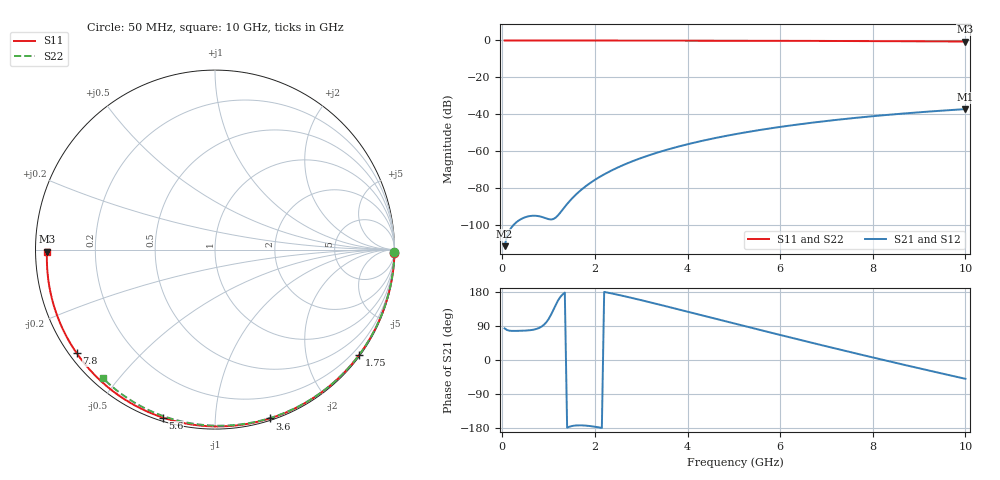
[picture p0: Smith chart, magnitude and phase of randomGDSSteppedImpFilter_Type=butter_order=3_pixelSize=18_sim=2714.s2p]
! freq	dB(S11)	phase(S11)	dB(S12)	phase(S12)
!  dB(S21)	phase(S21)	dB(S22)	phase(S22)
!S-par simulation data
#  GHz  S  DB  R 50
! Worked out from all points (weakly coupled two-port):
!   200 points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, 50 MHz to 10 GHz, reference 50 ohm
!   highest |S21| = -37.17 dB at 10 GHz (marker M1); lowest = -111.4 dB at 50 MHz (marker M2)
!   lowest |S11| = -0.6 dB at 10 GHz (marker M3), VSWR 30.29, Z = 1.65 - j0.303 ohm
!   |S11| at or under -10 dB: nowhere
!   |S22| runs from -0.4 to 0.0 dB; largest |S21 - S12| = 0
!   S11 on the Smith chart (normalised r, x): 50 MHz: open; 1.75 GHz: 0.03, -3.06; 3.6 GHz: 0.02, -1.38; 5.6 GHz: 0.02, -0.74; 7.8 GHz: 0.02, -0.33; 10 GHz: 0.03, -0.01
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0.05  -0.00 -1.1  -111.37 83.4  -111.37 83.4  -0.00 -0.8
0.45  -0.01 -9.5  -96.15 77.3  -96.15 77.3  -0.01 -6.8
0.85  -0.02 -17.8  -95.51 88.4  -95.51 88.4  -0.02 -12.8
1.3  -0.03 -27.1  -91.65 172.8  -91.65 172.8  -0.02 -19.5
1.75  -0.05 -36.2  -79.93 -172.7  -79.93 -172.7  -0.03 -26.2
1.9  -0.05 -39.2  -77.13 -174.4  -77.13 -174.4  -0.04 -28.3
2.05  -0.05 -42.2  -74.67 -177.1  -74.67 -177.1  -0.04 -30.5
2.25  -0.06 -46.2  -71.80 178.5  -71.80 178.5  -0.04 -33.4
2.45  -0.06 -50.1  -69.29 173.4  -69.29 173.4  -0.05 -36.3
2.9  -0.08 -58.9  -64.54 160.8  -64.54 160.8  -0.06 -42.8
3.4  -0.09 -68.3  -60.31 145.9  -60.31 145.9  -0.07 -49.8
3.6  -0.10 -72.0  -58.84 139.9  -58.84 139.9  -0.07 -52.6
4.3  -0.12 -84.8  -54.43 118.3  -54.43 118.3  -0.09 -62.1
5.05  -0.15 -97.9  -50.64 95.1  -50.64 95.1  -0.11 -72.1
5.6  -0.18 -107.3  -48.31 78.3  -48.31 78.3  -0.13 -79.2
6.15  -0.21 -116.4  -46.28 61.6  -46.28 61.6  -0.15 -86.1
6.7  -0.24 -125.4  -44.49 45.0  -44.49 45.0  -0.18 -92.9
7.25  -0.28 -134.3  -42.90 28.7  -42.90 28.7  -0.21 -99.5
7.8  -0.33 -143.1  -41.48 12.5  -41.48 12.5  -0.25 -106.0
8.35  -0.38 -152.0  -40.22 -3.4  -40.22 -3.4  -0.29 -112.5
9.2  -0.47 -165.9  -38.52 -27.5  -38.52 -27.5  -0.36 -122.2
10  -0.57 -179.3  -37.17 -49.6  -37.17 -49.6  -0.44 -131.2
